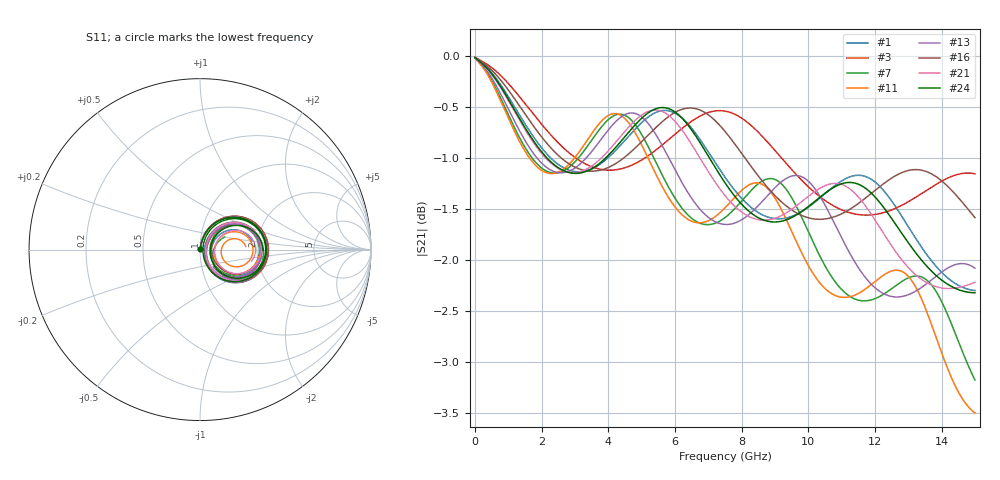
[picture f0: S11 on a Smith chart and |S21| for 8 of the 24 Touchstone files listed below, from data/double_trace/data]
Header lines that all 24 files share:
! Created with skrf 1.8.0 (http://scikit-rf.org).
# GHz S RI R 50.0
!freq ReS11 ImS11 ReS12 ImS12 ReS13 ImS13
! ReS14 ImS14
! ReS21 ImS21 ReS22 ImS22 ReS23 ImS23
! ReS24 ImS24
! ReS31 ImS31 ReS32 ImS32 ReS33 ImS33
! ReS34 ImS34
! ReS41 ImS41 ReS42 ImS42 ReS43 ImS43
! ReS44 ImS44
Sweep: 5 MHz to 15 GHz
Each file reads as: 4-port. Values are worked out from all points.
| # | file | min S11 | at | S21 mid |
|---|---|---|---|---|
| 1 | 802.s4p | -54.6 dB | 5 MHz | -1.0 dB at 7.19 GHz |
| 2 | 803.s4p | -53.6 dB | 5 MHz | -1.4 dB at 7.19 GHz |
| 3 | 804.s4p | -56.9 dB | 5 MHz | -0.5 dB at 7.19 GHz |
| 4 | 805.s4p | -53.7 dB | 5 MHz | -1.4 dB at 7.19 GHz |
| 5 | 809.s4p | -53.4 dB | 5 MHz | -1.5 dB at 7.19 GHz |
| 6 | 812.s4p | -53.4 dB | 5 MHz | -1.5 dB at 7.19 GHz |
| 7 | 813.s4p | -52.4 dB | 5 MHz | -1.6 dB at 7.19 GHz |
| 8 | 814.s4p | -52.7 dB | 5 MHz | -1.6 dB at 7.19 GHz |
| 9 | 815.s4p | -53.6 dB | 5 MHz | -1.4 dB at 7.19 GHz |
| 10 | 817.s4p | -56.0 dB | 5 MHz | -0.6 dB at 7.19 GHz |
| 11 | 818.s4p | -52.1 dB | 5 MHz | -1.6 dB at 7.19 GHz |
| 12 | 819.s4p | -53.5 dB | 5 MHz | -1.5 dB at 7.19 GHz |
| 13 | 820.s4p | -53.1 dB | 5 MHz | -1.6 dB at 7.19 GHz |
| 14 | 821.s4p | -56.0 dB | 5 MHz | -0.5 dB at 7.19 GHz |
| 15 | 822.s4p | -54.1 dB | 5 MHz | -1.2 dB at 7.19 GHz |
| 16 | 823.s4p | -55.7 dB | 5 MHz | -0.6 dB at 7.19 GHz |
| 17 | 824.s4p | -54.1 dB | 5 MHz | -1.2 dB at 7.19 GHz |
| 18 | 827.s4p | -52.1 dB | 5 MHz | -1.6 dB at 7.19 GHz |
| 19 | 828.s4p | -55.3 dB | 5 MHz | -0.8 dB at 7.19 GHz |
| 20 | 829.s4p | -53.9 dB | 5 MHz | -1.4 dB at 7.19 GHz |
| 21 | 830.s4p | -54.2 dB | 5 MHz | -1.2 dB at 7.19 GHz |
| 22 | 835.s4p | -54.9 dB | 5 MHz | -0.9 dB at 7.19 GHz |
| 23 | 836.s4p | -53.2 dB | 5 MHz | -1.6 dB at 7.19 GHz |
| 24 | 840.s4p | -54.4 dB | 5 MHz | -1.1 dB at 7.19 GHz |
